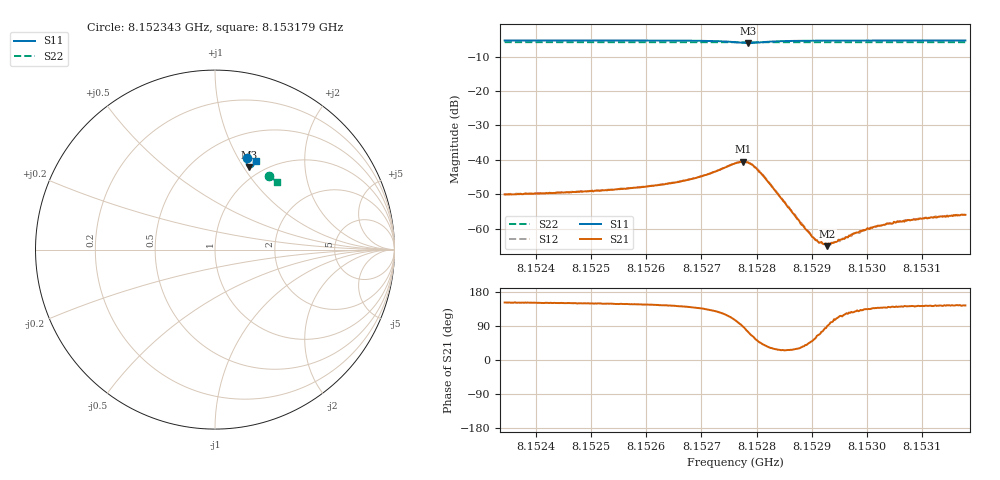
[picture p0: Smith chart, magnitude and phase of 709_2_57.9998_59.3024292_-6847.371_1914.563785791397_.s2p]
#  HZ  S  RI  R  50.00
! Rohde & Schwarz Vector Network Analyzer
! Rohde-Schwarz,ZNB20-2Port,1311601062101988,3.16
! Created: UTC 3/21/2024, 1:22:06 AM
! freq[Hz]  re:S11  im:S11  re:S21  im:S21  re:S12  im:S12  re:S22  im:S22
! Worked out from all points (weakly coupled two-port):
!   401 points, 8.152343 GHz to 8.153179 GHz, reference 50 ohm
!   highest |S21| = -40.49 dB at 8.152776 GHz (marker M1); lowest = -65.0 dB at 8.152928 GHz (marker M2)
!   lowest |S11| = -6.1 dB at 8.152784 GHz (marker M3), VSWR 2.98, Z = 43.5 + j53 ohm
!   |S11| at or under -10 dB: nowhere
!   |S22| runs from -5.9 to -5.8 dB; largest |S21 - S12| = 0.00027
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8.1523431e9  0.179 0.5098  -0.00278 0.00149  -0.00276 0.00153  0.3028 0.4121
8.1524831e9  0.1898 0.5059  -0.00298 0.00175  -0.00299 0.00182  0.3098 0.4065
8.1525625e9  0.1967 0.5031  -0.00321 0.00204  -0.00322 0.00212  0.3136 0.4034
8.1526231e9  0.2023 0.4999  -0.00354 0.0025  -0.00353 0.00256  0.3168 0.4008
8.1526962e9  0.2116 0.4921  -0.00413 0.00387  -0.00411 0.00396  0.3204 0.3975
8.152761e9  0.2118 0.4654  -0.00238 0.0086  -0.00234 0.00863  0.3232 0.394
8.1527756e9  0.1999 0.4584  0.000308 0.00945  0.000467 0.00949  0.3231 0.3934
8.152784e9  0.1906 0.4589  0.00234 0.00891  0.00235 0.00896  0.3234 0.3933
8.1527965e9  0.1795 0.4673  0.00418 0.00663  0.00434 0.00679  0.3237 0.3931
8.152809e9  0.1764 0.4785  0.00453 0.00433  0.00466 0.0044  0.3244 0.393
8.1528842e9  0.1956 0.4985  0.000907 0.000654  0.000928 0.000646  0.3288 0.3905
8.152901e9  0.1987 0.4988  0.000491 0.000583  0.000507 0.000583  0.3297 0.39
8.1529114e9  0.2004 0.4987  0.000276 0.000609  0.000272 0.000586  0.3302 0.3894
8.1529281e9  0.2029 0.4986  4.56e-06 0.00056  2.97e-06 0.000602  0.3311 0.3886
8.1529427e9  0.2047 0.4983  -0.000181 0.000621  -0.000168 0.000647  0.3319 0.388
8.1529678e9  0.2077 0.4979  -0.000463 0.000653  -0.000435 0.000653  0.333 0.3869
8.1529783e9  0.2088 0.4975  -0.000534 0.000685  -0.000506 0.000693  0.3336 0.3866
8.1529908e9  0.2101 0.4973  -0.000615 0.000703  -0.000608 0.000705  0.3341 0.386
8.1530096e9  0.212 0.4969  -0.00074 0.000718  -0.000731 0.00074  0.335 0.3852
8.1530409e9  0.2148 0.496  -0.000909 0.000774  -0.000918 0.000784  0.3366 0.3838
8.1530994e9  0.2196 0.4943  -0.00111 0.000849  -0.00111 0.000889  0.3393 0.3812
8.1531788e9  0.2257 0.4919  -0.00129 0.00094  -0.00128 0.000942  0.343 0.3778
